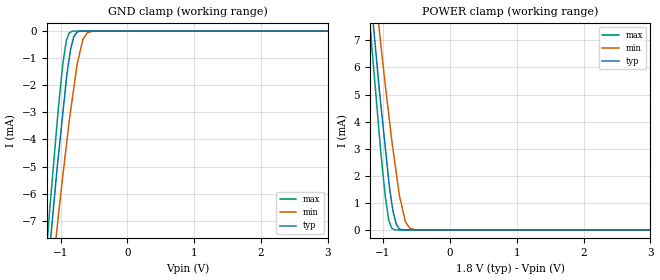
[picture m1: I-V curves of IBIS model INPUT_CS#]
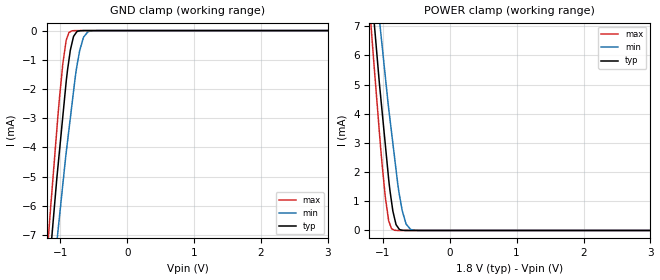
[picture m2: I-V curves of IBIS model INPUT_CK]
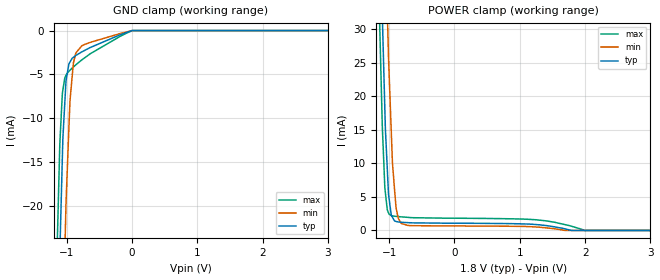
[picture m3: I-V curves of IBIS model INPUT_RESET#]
[IBIS ver] 4.0
[File name] s27ks0642ga-5s_125c.ibs
[File Rev] 1.0
[Date]  March 20, 2019
[Source] Cypress IBIS Team
[Notes]
CONTENTS:
These IBIS models are for the s27ks642 devices.
These models are for 24 ball BGA package
USAGE:
The models are derived for nominal 1.8V I/O voltage supplies.
The temperature range is -40 to 125C.
Package parasitics are included.
Refer to the model selector for the IO drive strength of interest.
Vinl and Vinh levels are VCCQ dependant and should be adjusted per datasheet
VERIFICATION
1. This model was syntax checked with IBISCHK V6.1.4
2. There are 0 parser errors and acceptable warnings.
HELP/QUESTIONS?
If there are any additional questions or concerns about using this
model, please create a technical support case at www.cypress.com/support
or call the technical support line at 408-943-2821 or 1-800-541-4763,
option 8.
[Disclaimer]   This information is for modeling purposes only and is not
   guaranteed.
[Component]   S27KS0642GA-5s_125c
[Manufacturer]  Cypress Semiconductor
[Package]
|   typ   min   max
R_pkg   222m   156m   290m
L_pkg   3.670n   2.140n   4.951n
C_pkg   0.430p   0.191p   0.647p
[Pin]  Signal_name   model_name   R_pin   L_pin   C_pin
D3   DQ0   DQ   190m   3.004n   0.347p
D2   DQ1   DQ   220m   3.818n   0.437p
C4   DQ2   DQ   162m   2.319n   0.369p
D4   DQ3   DQ   188m   2.928n   0.469p
D5   DQ4   DQ   278m   4.726n   0.647p
E3   DQ5   DQ   261m   4.156n   0.565p
E2   DQ6   DQ   249m   4.277n   0.412p
E1   DQ7   DQ   256m   4.599n   0.374p
C3   RWDS   DQ   157m   2.240n   0.439p
A3   CS#   INPUT_CS#   156m   2.683n   0.191p
B1   CK#   INPUT_CK   250m   4.302n   0.358p
B2   CK   INPUT_CK   248m   4.196n   0.354p
C5   PSC#   INPUT_CK   267m   4.719n   0.503p
B5   PSC   INPUT_CK   290m   4.951n   0.575p
A4   RESET#   INPUT_RESET# 157m   2.140n   0.404p
B4   VCC   POWER
D1   VCCQ   POWER
E4   VCCQ   POWER
B3   VSS   GND
C1   VSSQ   GND
E5   VSSQ   GND
|   Model Selector DQ
[Model Selector] DQ
ADQ_ds115   00-115ohm strength
ADQ_ds67   00-67ohm  strength
ADQ_ds46   00-46ohm  strength
ADQ_ds34   00-34ohm  strength (default)
ADQ_ds27   00-27ohm  strength
ADQ_ds22   00-22ohm  strength
ADQ_ds19   00-19ohm  strength
| Models and submodels in the file (10): INPUT_CS# (Input), INPUT_CK (Input), INPUT_RESET# (Input), ADQ_ds115 (I/O), ADQ_ds67 (I/O), ADQ_ds46 (I/O), ADQ_ds34 (I/O), ADQ_ds27 (I/O), ADQ_ds22 (I/O), ADQ_ds19 (I/O)
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[Model]   INPUT_CS#
Model_type   Input
Vinl = 0.54
Vinh = 1.26
|   typ   min   max
C_comp   0.63pF   0.62pF   0.64pF
[Voltage Range]   1.8   1.7   2
[Temperature Range]   25   125   -40
[Power Clamp Reference]   1.8   1.7   2
[GND Clamp Reference]   0   0   0
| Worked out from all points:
|   GND clamp passes 1 mA (typ) near -0.87 V on its own axis
|   POWER clamp passes 1 mA (typ) near -0.87 V on its own axis
[GND Clamp]
|   Voltage   I(typ)   I(min)   I(max)
-1.802V   -26.37mA   -25.5mA    -27.25mA
-1.19V    -8.777mA   -10.52mA   -7.455mA
-1.156V   -7.863mA   -9.717mA   -6.417mA
-1.055V   -5.144mA   -7.336mA   -3.473mA
-966mV    -3.032mA   -5.34mA    -1.221mA
-914mV    -1.796mA   -4.24mA    -355.2uA
-870mV    -998.1uA   -3.309mA   -65.73uA
-802.8mV  -208.3uA   -2.111mA   -4.052uA
-754.5mV  -41.97uA   -1.256mA   -311.3nA
-666.1mV  -2.118uA   -303.7uA   0A
-598mV    -146.2nA   -58.91uA   0A
3.604V    0A         0A         0A
[POWER Clamp]
|   Voltage   I(typ)   I(min)   I(max)
-1.802V   26.37mA    25.5mA     27.25mA
-1.19V    8.777mA    10.52mA    7.455mA
-1.156V   7.863mA    9.717mA    6.417mA
-1.055V   5.144mA    7.336mA    3.473mA
-966mV    3.032mA    5.34mA     1.221mA
-914mV    1.796mA    4.24mA     355.2uA
-870mV    998.1uA    3.309mA    65.73uA
-802.8mV  208.3uA    2.111mA    4.052uA
-754.5mV  41.97uA    1.256mA    311nA
-666.1mV  2.118uA    303.7uA    0A
-598mV    146nA      58.91uA    0A
3.604V    0A         0A         0A
[Model]   INPUT_CK
Model_type   Input
Vinl = 0.54
Vinh = 1.26
|   typ   min   max
C_comp   0.63pF   0.62pF   0.64pF
[Voltage Range]   1.8   1.7   2
[Temperature Range]   25   125   -40
[Power Clamp Reference]   1.8   1.7   2
[GND Clamp Reference]   0   0   0
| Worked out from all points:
|   GND clamp passes 1 mA (typ) near -0.87 V on its own axis
|   POWER clamp passes 1 mA (typ) near -0.87 V on its own axis
[GND Clamp]
|   Voltage   I(typ)   I(min)   I(max)
-1.802V   -26.37mA   -25.51mA   -27.26mA
-1.176V   -8.4mA     -10.17mA   -7.027mA
-1.108V   -6.578mA   -8.548mA   -5.019mA
-1.033V   -4.627mA   -6.841mA   -2.867mA
-962mV    -2.938mA   -5.268mA   -1.136mA
-912mV    -1.754mA   -4.181mA   -331.3uA
-868mV    -965.6uA   -3.342mA   -61.02uA
-801mV    -197uA     -2.064mA   -3.613uA
-710.3mV  -9.107uA   -685.3uA   -46.87nA
-652.5mV  -839.8nA   -225.7uA   0A
-570.9mV  -38.08nA   -27.44uA   0A
3.604V    0A         0A         0A
[POWER Clamp]
|   Voltage   I(typ)   I(min)   I(max)
-1.802V   26.37mA    25.51mA    27.26mA
-1.176V   8.4mA      10.17mA    7.027mA
-1.108V   6.578mA    8.548mA    5.019mA
-1.033V   4.627mA    6.841mA    2.867mA
-962mV    2.938mA    5.268mA    1.136mA
-912mV    1.754mA    4.181mA    331.3uA
-868mV    965.6uA    3.342mA    61.02uA
-801mV    197uA      2.064mA    3.612uA
-710.3mV  9.106uA    685.3uA    46.57nA
-652.5mV  839.5nA    225.7uA    0A
-570.9mV  37.92nA    27.44uA    0A
3.604V    0A         0A         0A
[Model]   INPUT_RESET#
Model_type   Input
Vinl = 0.54
Vinh = 1.26
|   typ   min   max
C_comp   0.73pF   0.72pF   0.74pF
[Voltage Range]   1.8   1.7   2
[Temperature Range]   25   125   -40
[Power Clamp Reference]   1.8   1.7   2
[GND Clamp Reference]   0   0   0
[GND Clamp]
|   Voltage   I(typ)   I(min)   I(max)
-1.802V   -341.4mA   -360.9mA   -331.7mA
-1.147V   -40.54mA   -68.29mA   -25.49mA
-1.12V    -30.02mA   -57.64mA   -17.46mA
-1.103V   -25.21mA   -51.23mA   -12.81mA
-1.064V   -14.22mA   -36.56mA   -7.125mA
-1.028V   -8.314mA   -25.52mA   -5.415mA
-1.008V   -5.682mA   -19.42mA   -5.079mA
-948.3mV  -3.591mA   -8.028mA   -4.524mA
-895.6mV  -3.038mA   -3.688mA   -4.149mA
-766.8mV  -2.429mA   -1.733mA   -3.34mA
8mV       0A         0A         0A
3.604V    0A         0A         0A
[POWER Clamp]
|   Voltage   I(typ)   I(min)   I(max)
-1.802V   387.5mA    409.5mA    376.9mA
-1.146V   49.79mA    83.46mA    31.47mA
-1.104V   32.1mA     64.41mA    15.53mA
-1.064V   17.68mA    46.62mA    6.253mA
-1.028V   9.212mA    32.94mA    3.08mA
-1.01V    5.484mA    26.03mA    2.619mA
-950mV    1.987mA    10.37mA    2.183mA
-916.2mV  1.425mA    6.037mA    2.125mA
-893.9mV  1.343mA    3.392mA    2.101mA
-858.2mV  1.265mA    1.777mA    2.067mA
-712mV    1.168mA    746.5uA    1.953mA
3.604V    0A         0A         0A
